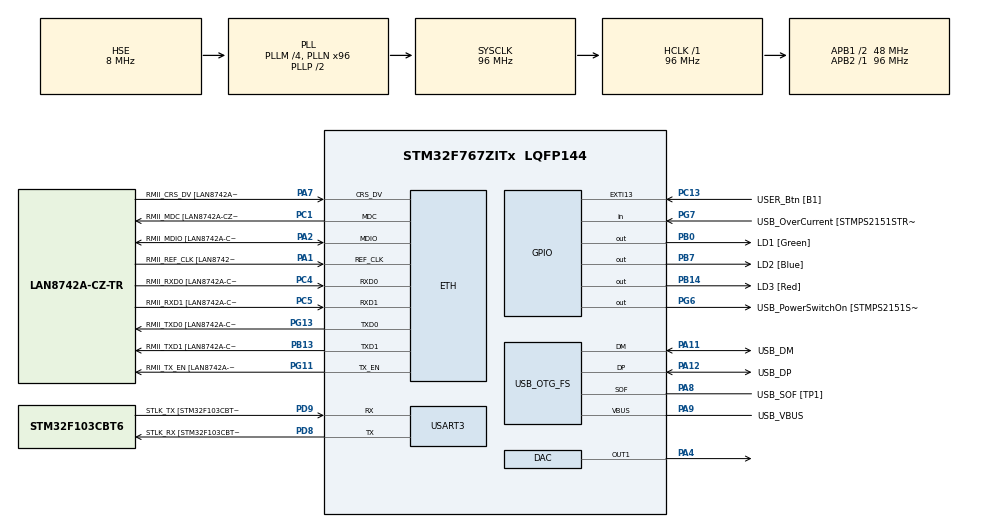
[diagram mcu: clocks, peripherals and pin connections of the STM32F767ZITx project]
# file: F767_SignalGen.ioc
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CORTEX_M7.default_mode_Activation=1
DAC.DAC_Trigger=DAC_TRIGGER_T6_TRGO
Dma.DAC1.0.Direction=DMA_MEMORY_TO_PERIPH
Dma.DAC1.0.FIFOMode=DMA_FIFOMODE_DISABLE
Dma.DAC1.0.Instance=DMA1_Stream5
Dma.DAC1.0.MemDataAlignment=DMA_MDATAALIGN_HALFWORD
Dma.DAC1.0.MemInc=DMA_MINC_ENABLE
Dma.DAC1.0.Mode=DMA_CIRCULAR
Dma.DAC1.0.PeriphDataAlignment=DMA_PDATAALIGN_HALFWORD
Dma.DAC1.0.PeriphInc=DMA_PINC_DISABLE
Dma.DAC1.0.Priority=DMA_PRIORITY_LOW
Dma.Request0=DAC1
ETH.MediaInterface=HAL_ETH_RMII_MODE
ETH.PHY_Name=LAN8742A_PHY_ADDRESS
ETH.PHY_Value=0
ETH.PhyAddress=0
Mcu.Family=STM32F7
Mcu.Name=STM32F767ZITx
Mcu.Package=LQFP144
NVIC.DMA1_Stream5_IRQn=true\:0\:0\:false\:false\:true\:false\:true\:true
NVIC.PriorityGroup=NVIC_PRIORITYGROUP_4
NVIC.USART3_IRQn=true\:0\:0\:false\:false\:true\:true\:true\:true
PA1.GPIO_Label=RMII_REF_CLK [LAN8742A-CZ-TR_REFCLK0]
PA1.Mode=RMII
PA1.Signal=ETH_REF_CLK
PA10.GPIO_Label=USB_ID
PA10.Signal=USB_OTG_FS_ID
PA11.GPIO_Label=USB_DM
PA11.Mode=Device_Only
PA11.Signal=USB_OTG_FS_DM
PA12.GPIO_Label=USB_DP
PA12.Mode=Device_Only
PA12.Signal=USB_OTG_FS_DP
PA13.GPIO_Label=TMS
PA13.Mode=Serial_Wire
PA13.Signal=SYS_JTMS-SWDIO
PA14.GPIO_Label=TCK
PA14.Mode=Serial_Wire
PA14.Signal=SYS_JTCK-SWCLK
PA2.GPIO_Label=RMII_MDIO [LAN8742A-CZ-TR_MDIO]
PA2.Mode=RMII
PA2.Signal=ETH_MDIO
PA4.Signal=COMP_DAC1_group
PA7.GPIO_Label=RMII_CRS_DV [LAN8742A-CZ-TR_CRS_DV]
PA7.Mode=RMII
PA7.Signal=ETH_CRS_DV
PA8.GPIO_Label=USB_SOF [TP1]
PA8.Mode=Activate_SOF_FS
PA8.Signal=USB_OTG_FS_SOF
PA9.GPIO_Label=USB_VBUS
PA9.Mode=Activate_VBUS
PA9.Signal=USB_OTG_FS_VBUS
PB0.GPIO_Label=LD1 [Green]
PB0.Signal=GPIO_Output
PB13.GPIO_Label=RMII_TXD1 [LAN8742A-CZ-TR_TXD1]
PB13.Mode=RMII
PB13.Signal=ETH_TXD1
PB14.GPIO_Label=LD3 [Red]
PB14.Signal=GPIO_Output
PB3.GPIO_Label=SWO
PB3.Signal=SYS_JTDO-SWO
PB7.GPIO_Label=LD2 [Blue]
PB7.Signal=GPIO_Output
PC1.GPIO_Label=RMII_MDC [LAN8742A-CZ-TR_MDC]
PC1.Mode=RMII
PC1.Signal=ETH_MDC
PC13.GPIO_Label=USER_Btn [B1]
PC13.Signal=GPXTI13
PC14/OSC32_IN.Mode=LSE-External-Oscillator
PC14/OSC32_IN.Signal=RCC_OSC32_IN
PC15/OSC32_OUT.Mode=LSE-External-Oscillator
PC15/OSC32_OUT.Signal=RCC_OSC32_OUT
PC4.GPIO_Label=RMII_RXD0 [LAN8742A-CZ-TR_RXD0]
PC4.Mode=RMII
PC4.Signal=ETH_RXD0
PC5.GPIO_Label=RMII_RXD1 [LAN8742A-CZ-TR_RXD1]
PC5.Mode=RMII
PC5.Signal=ETH_RXD1
PD8.GPIO_Label=STLK_RX [STM32F103CBT6_PA3]
PD8.Mode=Asynchronous
PD8.Signal=USART3_TX
PD9.GPIO_Label=STLK_TX [STM32F103CBT6_PA2]
PD9.Mode=Asynchronous
PD9.Signal=USART3_RX
PG11.GPIO_Label=RMII_TX_EN [LAN8742A-CZ-TR_TXEN]
PG11.Mode=RMII
PG11.Signal=ETH_TX_EN
PG13.GPIO_Label=RMII_TXD0 [LAN8742A-CZ-TR_TXD0]
PG13.Mode=RMII
PG13.Signal=ETH_TXD0
PG6.GPIO_Label=USB_PowerSwitchOn [STMPS2151STR_EN]
PG6.Signal=GPIO_Output
PG7.GPIO_Label=USB_OverCurrent [STMPS2151STR_FAULT]
PG7.Signal=GPIO_Input
PH0/OSC_IN.GPIO_Label=MCO [STM32F103CBT6_PA8]
PH0/OSC_IN.Mode=HSE-External-Clock-Source
PH0/OSC_IN.Signal=RCC_OSC_IN
PH1/OSC_OUT.Mode=HSE-External-Clock-Source
PH1/OSC_OUT.Signal=RCC_OSC_OUT
ProjectManager.HeapSize=0x200
ProjectManager.StackSize=0x400
ProjectManager.TargetToolchain=STM32CubeIDE
RCC.48MHZClocksFreq_Value=24000000
RCC.AHBFreq_Value=96000000
RCC.APB1CLKDivider=RCC_HCLK_DIV2
RCC.APB1Freq_Value=48000000
RCC.APB1TimFreq_Value=96000000
RCC.APB2Freq_Value=96000000
RCC.APB2TimFreq_Value=96000000
RCC.CortexFreq_Value=96000000
RCC.HCLKFreq_Value=96000000
RCC.HSE_VALUE=8000000
RCC.HSI_VALUE=16000000
RCC.PLLM=4
RCC.PLLMUL=RCC_PLL_MUL9
RCC.PLLN=96
RCC.PLLQ=4
RCC.PRESCALERUSB=RCC_USBCLKSOURCE_PLL_DIV1_5
RCC.SYSCLKFreq_VALUE=96000000
RCC.SYSCLKSource=RCC_SYSCLKSOURCE_PLLCLK
RCC.SYSCLKSourceVirtual=RCC_SYSCLKSOURCE_PLLCLK
RCC.USBFreq_Value=48000000
RCC.VCOOutputFreq_Value=192000000
SH.COMP_DAC1_group.0=DAC_OUT1,DAC_OUT1
TIM6.TIM_MasterOutputTrigger=TIM_TRGO_UPDATE
USART3.VirtualMode-Asynchronous=VM_ASYNC
USB_OTG_FS.VirtualMode=Device_Only
VP_TIM6_VS_ClockSourceINT.Mode=Enable_Timer
board=NUCLEO-F767ZI

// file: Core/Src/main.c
/* USER CODE BEGIN Header */
/* F767_SignalGen */
/**
  ******************************************************************************
  * @file           : main.c
  * @brief          : Main program body
  ******************************************************************************
  * @attention
  *
  * Copyright (c) 2026 STMicroelectronics.
  * All rights reserved.
  *
  * This software is licensed under terms that can be found in the LICENSE file
  * in the root directory of this software component.
  * If no LICENSE file comes with this software, it is provided AS-IS.
  *
  ******************************************************************************
  */
/* USER CODE END Header */
#include "main.h"
#include "string.h"

/* USER CODE BEGIN Includes */
#include <stdio.h>
#include <string.h>
#include <stdlib.h>
#include <math.h>
#include <stdbool.h>
#include <stdint.h>
/* USER CODE END Includes */

/* USER CODE BEGIN PD */
#define DAC_FS          196000.0f
#define BUF_LEN         4096
#define HALF_BUF_LEN    (BUF_LEN / 2)
#define URART_RX_LEN    64
#define PI_F            3.14159265358979f
/* USER CODE END PD */

#if defined ( __ICCARM__ ) /*!< IAR Compiler */
#pragma location=0x2007c000
ETH_DMADescTypeDef  DMARxDscrTab[ETH_RX_DESC_CNT]; /* Ethernet Rx DMA Descriptors */
#pragma location=0x2007c0a0
ETH_DMADescTypeDef  DMATxDscrTab[ETH_TX_DESC_CNT]; /* Ethernet Tx DMA Descriptors */

#elif defined ( __CC_ARM )  /* MDK ARM Compiler */

__attribute__((at(0x2007c000))) ETH_DMADescTypeDef  DMARxDscrTab[ETH_RX_DESC_CNT]; /* Ethernet Rx DMA Descriptors */
__attribute__((at(0x2007c0a0))) ETH_DMADescTypeDef  DMATxDscrTab[ETH_TX_DESC_CNT]; /* Ethernet Tx DMA Descriptors */

#elif defined ( __GNUC__ ) /* GNU Compiler */

ETH_DMADescTypeDef DMARxDscrTab[ETH_RX_DESC_CNT] __attribute__((section(".RxDecripSection"))); /* Ethernet Rx DMA Descriptors */
ETH_DMADescTypeDef DMATxDscrTab[ETH_TX_DESC_CNT] __attribute__((section(".TxDecripSection")));   /* Ethernet Tx DMA Descriptors */
#endif

ETH_TxPacketConfig TxConfig;

DAC_HandleTypeDef hdac;
DMA_HandleTypeDef hdma_dac1;

ETH_HandleTypeDef heth;

TIM_HandleTypeDef htim6;

UART_HandleTypeDef huart3;

PCD_HandleTypeDef hpcd_USB_OTG_FS;

/* USER CODE BEGIN PV */
uint16_t dacBuf[BUF_LEN];

uint8_t uartRxByte;
char uartCmd[URART_RX_LEN];
volatile uint16_t uartIdx = 0;
volatile bool uartCmdReady = false;

volatile bool chirpRunning = false;
volatile bool chirpStopRequested = false;

volatile uint32_t totalSamples = 0;
volatile uint32_t currentSampleIndex = 0;

volatile float chirpFlow = 36000.0f;        // default chirp f_low
volatile float chirpFhigh = 42000.0f;       // default chirp f_high
volatile float chirpDurationMs = 300.0f;    // default chirp duration (ms)
volatile float chirpDurationSec = 0.3f;     // default chirp duration (sec)
volatile float chirpSlope = 0.0f;

volatile uint16_t dacMid = 2048;
volatile float chirpAmp = 1800.0f;          // keep below full scale

volatile bool chirpFinishedFlag = false;
volatile uint32_t halfCallbackCount = 0;
volatile uint32_t fullCallbackCount = 0;

volatile uint32_t chirpStartTick = 0;
volatile uint32_t chirpEndTick = 0;
/* USER CODE END PV */

void SystemClock_Config(void);
static void MPU_Config(void);
static void MX_GPIO_Init(void);
static void MX_DMA_Init(void);
static void MX_DAC_Init(void);
static void MX_ETH_Init(void);
static void MX_TIM6_Init(void);
static void MX_USART3_UART_Init(void);
static void MX_USB_OTG_FS_PCD_Init(void);
/* USER CODE BEGIN PFP */
// function prototype
void UART_BeginReceive_IT(void);
void ProcessUartCommand(void);
void ParseAndStartChirp(char *cmd);

void StartChirp(float flow , float fhigh , float durationMs);
void StopChirp(void);

void FillBufferRange(uint16_t *buf , uint32_t startIdx , uint32_t len);
uint16_t GenerateOneSample(uint32_t n);

int __io_putchar(int ch);
/* USER CODE END PFP */

/* USER CODE BEGIN 0 */
int __io_putchar(int ch)
{
  HAL_UART_Transmit(&huart3 , (uint8_t *)&ch , 1 , HAL_MAX_DELAY);
  return ch;
} // end function __io_putchar

void UART_BeginReceive_IT(void)
{
  HAL_UART_Receive_IT(&huart3 , &uartRxByte , 1);
} // end function UART_BeginReceive_IT

void ProcessUartCommand(void)
{
  if (uartCmdReady)
  {
    uartCmdReady = false;
    ParseAndStartChirp(uartCmd);
    memset(uartCmd , 0 , sizeof(uartCmd));
    uartIdx = 0;
  } // end if (uartCmdReady)
} // end function ProcessUartCommand

void ParseAndStartChirp(char *cmd)
{
  uint32_t f1 , f2 , durMs;

  if (sscanf(cmd , "chirp %lu %lu %lu" , &f1 , &f2 , &durMs) == 3)
  {
    if (f1 < 500.0f || f1 > 50000.0f || f2 < 500.0f || f2 > 50000.0f || durMs < 300.0f || durMs > 1000.0f)
    {
      printf("Invalid range.\r\n");
      printf("Use: chirp <f_low> <f_high> <duration_ms>\r\n");
      printf("Example: chirp 36000 42000 300\r\n");

      return;
    } // end if (checking the parameter is in range or not)

    StartChirp(f1 , f2 , durMs);        // Start generate chirp and output
  } // end if (sscanf == 3)
  else
  {
    printf("Unknown command.\r\n");
    printf("Use: chirp <f_low> <f_high> <duration_ms>\r\n");
  } // end else (unknown command)
} // end function ParseAndStartChirp

void StartChirp(float flow , float fhigh , float durationMs)
{
  HAL_StatusTypeDef st_tim, st_dac;

  StopChirp();

  chirpFlow = flow;
  chirpFhigh = fhigh;
  chirpDurationMs = durationMs;
  chirpDurationSec = durationMs / 1000.0f;
  chirpSlope = (chirpFhigh - chirpFlow) / chirpDurationSec;

  totalSamples = (uint32_t)(DAC_FS * chirpDurationSec);
  currentSampleIndex = 0;
  chirpStopRequested = false;
  chirpRunning = true;
  halfCallbackCount = 0;
  fullCallbackCount = 0;
  chirpEndTick = 0;
  chirpFinishedFlag = false;

  FillBufferRange(dacBuf , 0 , HALF_BUF_LEN);
  FillBufferRange(&dacBuf[HALF_BUF_LEN] , HALF_BUF_LEN , HALF_BUF_LEN);

  st_tim = HAL_TIM_Base_Start(&htim6);
  st_dac = HAL_DAC_Start_DMA(&hdac , DAC_CHANNEL_1 , (uint32_t *)dacBuf , BUF_LEN , DAC_ALIGN_12B_R);

  chirpStartTick = HAL_GetTick();

  printf("Start chirp: %lu -> %lu Hz, %lu ms, samples = %lu\r\n",
         (uint32_t)flow,
         (uint32_t)fhigh,
         (uint32_t)durationMs,
         totalSamples);

  printf("TIM start = %d, DAC DMA start = %d\r\n", st_tim, st_dac);
  HAL_GPIO_WritePin(GPIOB, LD2_Pin, GPIO_PIN_SET);
} // end function StartChirp

void StopChirp(void)
{
  HAL_DAC_Stop_DMA(&hdac , DAC_CHANNEL_1);
  HAL_TIM_Base_Stop(&htim6);
  HAL_DAC_SetValue(&hdac , DAC_CHANNEL_1 , DAC_ALIGN_12B_R , dacMid);

  chirpRunning = false;
  chirpStopRequested = false;
  currentSampleIndex = 0;
  HAL_GPIO_WritePin(GPIOB, LD2_Pin, GPIO_PIN_RESET);
} // end function StopChirp

void FillBufferRange(uint16_t *buf , uint32_t startidx , uint32_t len)
{
  for (uint32_t i = 0; i < len; i++)
  {
    uint32_t n = currentSampleIndex;

    if (n < totalSamples && !chirpStopRequested)
    {
      buf[i] = GenerateOneSample(n);
      currentSampleIndex++;
    } // end if
    else
    {
      buf[i] = dacMid;
      chirpStopRequested = true;
    } // end else
  } // end for
} // end function FillBufferRange

uint16_t GenerateOneSample(uint32_t n)
{
  float Nminus1;
  float t;
  float phase;
  float w;
  float x;
  float y;
  int32_t dacValue;

  if (totalSamples < 2)
  {
    return dacMid;
  } // end if

  Nminus1 = (float)(totalSamples - 1);
  t = (float)n / DAC_FS;

  // hanning window
  w = 0.5f * (1.0f - cosf((2.0f * PI_F * (float)n) / Nminus1));

  // Linear Chirp
  phase = 2.0 * PI_F * (chirpFlow * t + 0.5f * chirpSlope * t * t);

  x = sinf(phase);
  y = chirpAmp * w * x;

  dacValue = (int32_t)(dacMid + y);

  if (dacValue < 0) dacValue = 0;
  if (dacValue > 4095) dacValue = 4095;

  return (uint16_t)dacValue;
} // end function GenerateOneSample
/* USER CODE END 0 */

int main(void)
{

  /* MPU Configuration--------------------------------------------------------*/
  MPU_Config();

  /* MCU Configuration--------------------------------------------------------*/

  /* Reset of all peripherals, Initializes the Flash interface and the Systick. */
  HAL_Init();

  /* Configure the system clock */
  SystemClock_Config();

  /* Initialize all configured peripherals */
  MX_GPIO_Init();
  MX_DMA_Init();
  MX_DAC_Init();
  MX_ETH_Init();
  MX_TIM6_Init();
  MX_USART3_UART_Init();
  MX_USB_OTG_FS_PCD_Init();
  /* USER CODE BEGIN 2 */
  HAL_DAC_Start(&hdac , DAC_CHANNEL_1);
  HAL_DAC_SetValue(&hdac , DAC_CHANNEL_1 , DAC_ALIGN_12B_R , dacMid);

  UART_BeginReceive_IT();

  printf("System ready.\r\n");
  printf("Use: chirp <f_low> <f_high> <duration_ms>\r\n");
  printf("Example: chirp 36000 42000 300\r\n");

  HAL_DAC_SetValue(&hdac , DAC_CHANNEL_1 , DAC_ALIGN_12B_R , dacMid);
  /* USER CODE END 2 */

  /* Infinite loop */
  /* USER CODE BEGIN WHILE */
  while (1)
  {
    static uint32_t lastPrintTick = 0;

    ProcessUartCommand();
    if (chirpFinishedFlag)
    {
      chirpFinishedFlag = false;
      printf("Chirp finished. elasped = %lu ms.\r\n" , chirpEndTick - chirpStartTick);
    }

    if (chirpRunning && (HAL_GetTick() - lastPrintTick >= 200))
    {
      lastPrintTick = HAL_GetTick();

      printf("run=%d, stopReq=%d, idx=%lu, total=%lu, half=%lu, full=%lu\r\n",
            chirpRunning,
            chirpStopRequested,
            currentSampleIndex,
            totalSamples,
            halfCallbackCount,
            fullCallbackCount);
    }
    /* USER CODE END WHILE */

  }
}

void SystemClock_Config(void)
{
  RCC_OscInitTypeDef RCC_OscInitStruct = {0};
  RCC_ClkInitTypeDef RCC_ClkInitStruct = {0};

  /** Configure LSE Drive Capability
  */
  HAL_PWR_EnableBkUpAccess();

  /** Configure the main internal regulator output voltage
  */
  __HAL_RCC_PWR_CLK_ENABLE();
  __HAL_PWR_VOLTAGESCALING_CONFIG(PWR_REGULATOR_VOLTAGE_SCALE3);

  /** Initializes the RCC Oscillators according to the specified parameters
  * in the RCC_OscInitTypeDef structure.
  */
  RCC_OscInitStruct.OscillatorType = RCC_OSCILLATORTYPE_HSE;
  RCC_OscInitStruct.HSEState = RCC_HSE_BYPASS;
  RCC_OscInitStruct.PLL.PLLState = RCC_PLL_ON;
  RCC_OscInitStruct.PLL.PLLSource = RCC_PLLSOURCE_HSE;
  RCC_OscInitStruct.PLL.PLLM = 4;
  RCC_OscInitStruct.PLL.PLLN = 96;
  RCC_OscInitStruct.PLL.PLLP = RCC_PLLP_DIV2;
  RCC_OscInitStruct.PLL.PLLQ = 4;
  RCC_OscInitStruct.PLL.PLLR = 2;
  if (HAL_RCC_OscConfig(&RCC_OscInitStruct) != HAL_OK)
  {
    Error_Handler();
  }

  /** Activate the Over-Drive mode
  */
  if (HAL_PWREx_EnableOverDrive() != HAL_OK)
  {
    Error_Handler();
  }

  /** Initializes the CPU, AHB and APB buses clocks
  */
  RCC_ClkInitStruct.ClockType = RCC_CLOCKTYPE_HCLK|RCC_CLOCKTYPE_SYSCLK
                              |RCC_CLOCKTYPE_PCLK1|RCC_CLOCKTYPE_PCLK2;
  RCC_ClkInitStruct.SYSCLKSource = RCC_SYSCLKSOURCE_PLLCLK;
  RCC_ClkInitStruct.AHBCLKDivider = RCC_SYSCLK_DIV1;
  RCC_ClkInitStruct.APB1CLKDivider = RCC_HCLK_DIV2;
  RCC_ClkInitStruct.APB2CLKDivider = RCC_HCLK_DIV1;

  if (HAL_RCC_ClockConfig(&RCC_ClkInitStruct, FLASH_LATENCY_3) != HAL_OK)
  {
    Error_Handler();
  }
}

static void MX_DAC_Init(void)
{

  DAC_ChannelConfTypeDef sConfig = {0};

  /** DAC Initialization
  */
  hdac.Instance = DAC;
  if (HAL_DAC_Init(&hdac) != HAL_OK)
  {
    Error_Handler();
  }

  /** DAC channel OUT1 config
  */
  sConfig.DAC_Trigger = DAC_TRIGGER_T6_TRGO;
  sConfig.DAC_OutputBuffer = DAC_OUTPUTBUFFER_ENABLE;
  if (HAL_DAC_ConfigChannel(&hdac, &sConfig, DAC_CHANNEL_1) != HAL_OK)
  {
    Error_Handler();
  }

}

static void MX_ETH_Init(void)
{

   static uint8_t MACAddr[6];

  heth.Instance = ETH;
  MACAddr[0] = 0x00;
  MACAddr[1] = 0x80;
  MACAddr[2] = 0xE1;
  MACAddr[3] = 0x00;
  MACAddr[4] = 0x00;
  MACAddr[5] = 0x00;
  heth.Init.MACAddr = &MACAddr[0];
  heth.Init.MediaInterface = HAL_ETH_RMII_MODE;
  heth.Init.TxDesc = DMATxDscrTab;
  heth.Init.RxDesc = DMARxDscrTab;
  heth.Init.RxBuffLen = 1524;

  if (HAL_ETH_Init(&heth) != HAL_OK)
  {
    Error_Handler();
  }

  memset(&TxConfig, 0 , sizeof(ETH_TxPacketConfig));
  TxConfig.Attributes = ETH_TX_PACKETS_FEATURES_CSUM | ETH_TX_PACKETS_FEATURES_CRCPAD;
  TxConfig.ChecksumCtrl = ETH_CHECKSUM_IPHDR_PAYLOAD_INSERT_PHDR_CALC;
  TxConfig.CRCPadCtrl = ETH_CRC_PAD_INSERT;

}

static void MX_TIM6_Init(void)
{

  TIM_MasterConfigTypeDef sMasterConfig = {0};

  htim6.Instance = TIM6;
  htim6.Init.Prescaler = 0;
  htim6.Init.CounterMode = TIM_COUNTERMODE_UP;
  htim6.Init.Period = 488;
  htim6.Init.AutoReloadPreload = TIM_AUTORELOAD_PRELOAD_DISABLE;
  if (HAL_TIM_Base_Init(&htim6) != HAL_OK)
  {
    Error_Handler();
  }
  sMasterConfig.MasterOutputTrigger = TIM_TRGO_UPDATE;
  sMasterConfig.MasterSlaveMode = TIM_MASTERSLAVEMODE_DISABLE;
  if (HAL_TIMEx_MasterConfigSynchronization(&htim6, &sMasterConfig) != HAL_OK)
  {
    Error_Handler();
  }

}

static void MX_USART3_UART_Init(void)
{

  huart3.Instance = USART3;
  huart3.Init.BaudRate = 115200;
  huart3.Init.WordLength = UART_WORDLENGTH_8B;
  huart3.Init.StopBits = UART_STOPBITS_1;
  huart3.Init.Parity = UART_PARITY_NONE;
  huart3.Init.Mode = UART_MODE_TX_RX;
  huart3.Init.HwFlowCtl = UART_HWCONTROL_NONE;
  huart3.Init.OverSampling = UART_OVERSAMPLING_16;
  huart3.Init.OneBitSampling = UART_ONE_BIT_SAMPLE_DISABLE;
  huart3.AdvancedInit.AdvFeatureInit = UART_ADVFEATURE_NO_INIT;
  if (HAL_UART_Init(&huart3) != HAL_OK)
  {
    Error_Handler();
  }

}

static void MX_USB_OTG_FS_PCD_Init(void)
{

  hpcd_USB_OTG_FS.Instance = USB_OTG_FS;
  hpcd_USB_OTG_FS.Init.dev_endpoints = 6;
  hpcd_USB_OTG_FS.Init.speed = PCD_SPEED_FULL;
  hpcd_USB_OTG_FS.Init.dma_enable = DISABLE;
  hpcd_USB_OTG_FS.Init.phy_itface = PCD_PHY_EMBEDDED;
  hpcd_USB_OTG_FS.Init.Sof_enable = ENABLE;
  hpcd_USB_OTG_FS.Init.low_power_enable = DISABLE;
  hpcd_USB_OTG_FS.Init.lpm_enable = DISABLE;
  hpcd_USB_OTG_FS.Init.vbus_sensing_enable = ENABLE;
  hpcd_USB_OTG_FS.Init.use_dedicated_ep1 = DISABLE;
  if (HAL_PCD_Init(&hpcd_USB_OTG_FS) != HAL_OK)
  {
    Error_Handler();
  }

}

static void MX_DMA_Init(void)
{

  /* DMA controller clock enable */
  __HAL_RCC_DMA1_CLK_ENABLE();

  /* DMA interrupt init */
  /* DMA1_Stream5_IRQn interrupt configuration */
  HAL_NVIC_SetPriority(DMA1_Stream5_IRQn, 0, 0);
  HAL_NVIC_EnableIRQ(DMA1_Stream5_IRQn);

}

static void MX_GPIO_Init(void)
{
  GPIO_InitTypeDef GPIO_InitStruct = {0};

  /* GPIO Ports Clock Enable */
  __HAL_RCC_GPIOC_CLK_ENABLE();
  __HAL_RCC_GPIOH_CLK_ENABLE();
  __HAL_RCC_GPIOA_CLK_ENABLE();
  __HAL_RCC_GPIOB_CLK_ENABLE();
  __HAL_RCC_GPIOD_CLK_ENABLE();
  __HAL_RCC_GPIOG_CLK_ENABLE();

  /*Configure GPIO pin Output Level */
  HAL_GPIO_WritePin(GPIOB, LD1_Pin|LD3_Pin|LD2_Pin, GPIO_PIN_RESET);

  /*Configure GPIO pin Output Level */
  HAL_GPIO_WritePin(USB_PowerSwitchOn_GPIO_Port, USB_PowerSwitchOn_Pin, GPIO_PIN_RESET);

  /*Configure GPIO pin : USER_Btn_Pin */
  GPIO_InitStruct.Pin = USER_Btn_Pin;
  GPIO_InitStruct.Mode = GPIO_MODE_IT_RISING;
  GPIO_InitStruct.Pull = GPIO_NOPULL;
  HAL_GPIO_Init(USER_Btn_GPIO_Port, &GPIO_InitStruct);

  /*Configure GPIO pins : LD1_Pin LD3_Pin LD2_Pin */
  GPIO_InitStruct.Pin = LD1_Pin|LD3_Pin|LD2_Pin;
  GPIO_InitStruct.Mode = GPIO_MODE_OUTPUT_PP;
  GPIO_InitStruct.Pull = GPIO_NOPULL;
  GPIO_InitStruct.Speed = GPIO_SPEED_FREQ_LOW;
  HAL_GPIO_Init(GPIOB, &GPIO_InitStruct);

  /*Configure GPIO pin : USB_PowerSwitchOn_Pin */
  GPIO_InitStruct.Pin = USB_PowerSwitchOn_Pin;
  GPIO_InitStruct.Mode = GPIO_MODE_OUTPUT_PP;
  GPIO_InitStruct.Pull = GPIO_NOPULL;
  GPIO_InitStruct.Speed = GPIO_SPEED_FREQ_LOW;
  HAL_GPIO_Init(USB_PowerSwitchOn_GPIO_Port, &GPIO_InitStruct);

  /*Configure GPIO pin : USB_OverCurrent_Pin */
  GPIO_InitStruct.Pin = USB_OverCurrent_Pin;
  GPIO_InitStruct.Mode = GPIO_MODE_INPUT;
  GPIO_InitStruct.Pull = GPIO_NOPULL;
  HAL_GPIO_Init(USB_OverCurrent_GPIO_Port, &GPIO_InitStruct);

}

/* USER CODE BEGIN 4 */
void HAL_UART_RxCpltCallback(UART_HandleTypeDef *huart)
{
  if (huart->Instance == USART3)
  {
    HAL_UART_Transmit(&huart3, &uartRxByte, 1, HAL_MAX_DELAY);   // echo back
    if (uartRxByte == '\r' || uartRxByte == '\n')
    {
      if (uartIdx > 0)
      {
        uartCmd[uartIdx] = '\0';
        uartCmdReady = true;
      } // end if
      uartIdx = 0;
    } // end if
    else
    {
      if (uartIdx < (URART_RX_LEN - 1))
      {
        uartCmd[uartIdx++] = (char)uartRxByte;
      }
    } // end else

    HAL_UART_Receive_IT(&huart3 , &uartRxByte , 1);
  } // end if
} // end function HAL_UART_RxCpltCallback

void HAL_DAC_ConvHalfCpltCallbackCh1(DAC_HandleTypeDef *hdac)
{
  halfCallbackCount++;

  if (chirpRunning)
  {
    FillBufferRange(dacBuf, 0, HALF_BUF_LEN);
  } // end if
} // end function HAL_DAC_ConvHalfCpltCallbackCh1

void HAL_DAC_ConvCpltCallbackCh1(DAC_HandleTypeDef *hdac)
{
  fullCallbackCount++;

  if (chirpRunning)
  {
    FillBufferRange(&dacBuf[HALF_BUF_LEN], HALF_BUF_LEN, HALF_BUF_LEN);

    if (chirpStopRequested)
    {
      chirpEndTick = HAL_GetTick();
      StopChirp();
      chirpFinishedFlag = true;
    }
  }
} // end function HAL_DAC_ConvCpltCallbackCh1
/* USER CODE END 4 */

 /* MPU Configuration */

void MPU_Config(void)
{
  MPU_Region_InitTypeDef MPU_InitStruct = {0};

  /* Disables the MPU */
  HAL_MPU_Disable();

  /** Initializes and configures the Region and the memory to be protected
  */
  MPU_InitStruct.Enable = MPU_REGION_ENABLE;
  MPU_InitStruct.Number = MPU_REGION_NUMBER0;
  MPU_InitStruct.BaseAddress = 0x0;
  MPU_InitStruct.Size = MPU_REGION_SIZE_4GB;
  MPU_InitStruct.SubRegionDisable = 0x87;
  MPU_InitStruct.TypeExtField = MPU_TEX_LEVEL0;
  MPU_InitStruct.AccessPermission = MPU_REGION_NO_ACCESS;
  MPU_InitStruct.DisableExec = MPU_INSTRUCTION_ACCESS_DISABLE;
  MPU_InitStruct.IsShareable = MPU_ACCESS_SHAREABLE;
  MPU_InitStruct.IsCacheable = MPU_ACCESS_NOT_CACHEABLE;
  MPU_InitStruct.IsBufferable = MPU_ACCESS_NOT_BUFFERABLE;

  HAL_MPU_ConfigRegion(&MPU_InitStruct);
  /* Enables the MPU */
  HAL_MPU_Enable(MPU_PRIVILEGED_DEFAULT);

}

void Error_Handler(void)
{
  __disable_irq();
  while (1)
  {
  }
}
